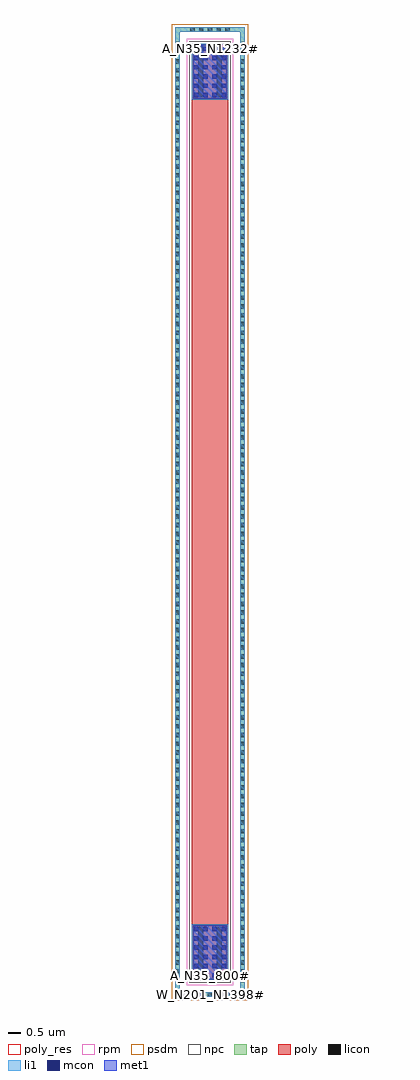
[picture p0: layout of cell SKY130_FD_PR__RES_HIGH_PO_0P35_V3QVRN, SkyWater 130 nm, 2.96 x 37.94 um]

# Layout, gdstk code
import gdstk
lib = gdstk.Library(unit=1e-6, precision=1e-09)
def R(c, l, rs):  # rectangles x0, y0, x1, y1
    for r in rs: c.add(gdstk.rectangle(r[:2], r[2:], *l))
def A(c, l, x, y, w, h, nx, ny, dx, dy):  # array of equal rectangles
    R(c, l, [(x+i*dx, y+j*dy, x+i*dx+w, y+j*dy+h) for i in range(nx) for j in range(ny)])
tap = (65, 44)
poly_res = (66, 13)
poly = (66, 20)
licon = (66, 44)
li1 = (67, 20)
mcon = (67, 44)
met1 = (68, 20)
rpm = (86, 20)
psdm = (94, 20)
npc = (95, 20)

sky130_fd_pr__res_high_p = lib.new_cell('SKY130_FD_PR__RES_HIGH_PO_0P35_V3QVRN')
R(sky130_fd_pr__res_high_p, tap, [(-1.355,-18.845,1.355,-18.675), (-1.355,-18.675,-1.185,18.675), (1.185,-18.675,1.355,18.675), (-1.355,18.675,1.355,18.845)])
R(sky130_fd_pr__res_high_p, poly_res, [(-0.705,-16.115,0.705,16.115)])
R(sky130_fd_pr__res_high_p, poly, [(-0.705,-18.195,0.705,18.195)])
A(sky130_fd_pr__res_high_p, licon, -0.765, -18.845, 0.17, 0.17, 5, 2, 0.34, 37.52)
A(sky130_fd_pr__res_high_p, licon, -1.355, -18.275, 0.17, 0.17, 1, 108, 0, 0.34)
A(sky130_fd_pr__res_high_p, licon, 1.185, -18.275, 0.17, 0.17, 1, 108, 0, 0.34)
R(sky130_fd_pr__res_high_p, licon, [(-0.45,-18.115,-0.26,-16.115), (0.26,-18.115,0.45,-16.115), (-0.45,16.115,-0.26,18.115), (0.26,16.115,0.45,18.115)])
R(sky130_fd_pr__res_high_p, li1, [(-1.355,-18.845,1.355,-18.675), (-1.355,-18.675,-1.185,18.675), (1.185,-18.675,1.355,18.675), (-0.705,-18.195,0.705,-16.035), (-0.705,16.035,0.705,18.195), (-1.355,18.675,1.355,18.845)])
A(sky130_fd_pr__res_high_p, mcon, -0.625, -18.1, 0.17, 0.17, 4, 6, 0.36, 0.36)
A(sky130_fd_pr__res_high_p, mcon, -0.625, 16.125, 0.17, 0.17, 4, 6, 0.36, 0.36)
R(sky130_fd_pr__res_high_p, met1, [(-0.655,-18.165,0.655,-16.06), (-0.655,16.06,0.655,18.165)])
R(sky130_fd_pr__res_high_p, rpm, [(-0.905,-18.395,0.905,18.395)])
R(sky130_fd_pr__res_high_p, psdm, [(-1.48,-18.97,1.48,18.97)])
R(sky130_fd_pr__res_high_p, npc, [(-0.8,-18.29,0.8,18.29)])
sky130_fd_pr__res_high_p.add(gdstk.Label('W_N201_N1398#', (0,-18.76), layer=67, texttype=5))
sky130_fd_pr__res_high_p.add(gdstk.Label('A_N35_N1232#', (0,18.02), layer=67, texttype=5))
sky130_fd_pr__res_high_p.add(gdstk.Label('A_N35_800#', (0,-18.02), layer=67, texttype=5))

lib.write_gds('SKY130_FD_PR__RES_HIGH_PO_0P35_V3QVRN.gds')
